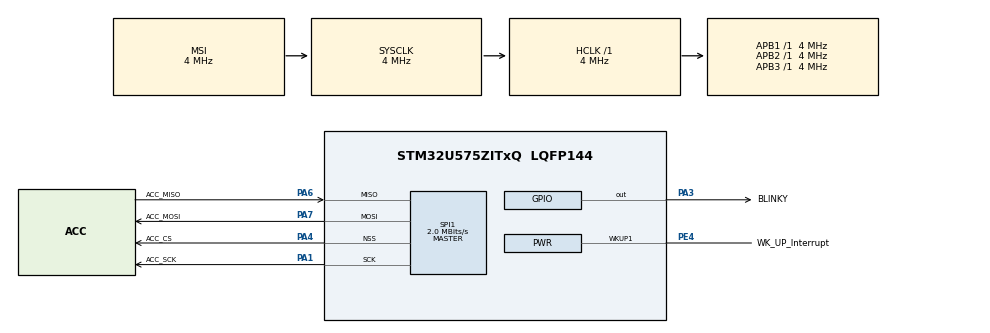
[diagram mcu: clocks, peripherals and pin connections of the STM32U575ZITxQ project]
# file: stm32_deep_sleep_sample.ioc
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CORTEX_M33_NS.userName=CORTEX_M33
Mcu.Family=STM32U5
Mcu.Name=STM32U575ZITxQ
Mcu.Package=LQFP144
NVIC.PWR_S3WU_IRQn=true\:0\:0\:false\:false\:true\:true\:true\:true
NVIC.PriorityGroup=NVIC_PRIORITYGROUP_4
PA1.GPIO_Label=ACC_SCK
PA1.Mode=Full_Duplex_Master
PA1.Signal=SPI1_SCK
PA3.GPIO_Label=BLINKY
PA3.Signal=GPIO_Output
PA4.GPIO_Label=ACC_CS
PA4.Mode=NSS_Signal_Hard_Output
PA4.Signal=SPI1_NSS
PA6.GPIO_Label=ACC_MISO
PA6.Mode=Full_Duplex_Master
PA6.Signal=SPI1_MISO
PA7.GPIO_Label=ACC_MOSI
PA7.Mode=Full_Duplex_Master
PA7.Signal=SPI1_MOSI
PE4.GPIO_Label=WK_UP_Interrupt
PE4.Mode=WakeUp1
PE4.Signal=PWR_WKUP1
PWR.PowerMode=PWR_SMPS_SUPPLY
ProjectManager.HeapSize=0x200
ProjectManager.StackSize=0x400
ProjectManager.TargetToolchain=STM32CubeIDE
RCC.ADCFreq_Value=16000000
RCC.AHBFreq_Value=4000000
RCC.APB1Freq_Value=4000000
RCC.APB1TimFreq_Value=4000000
RCC.APB2Freq_Value=4000000
RCC.APB2TimFreq_Value=4000000
RCC.APB3Freq_Value=4000000
RCC.CortexFreq_Value=4000000
RCC.EPOD_VALUE=4000000
RCC.HCLKFreq_Value=4000000
RCC.HSE_VALUE=16000000
RCC.HSI48_VALUE=48000000
RCC.HSI_VALUE=16000000
RCC.LSE_VALUE=32768
RCC.LSIDIV_VALUE=32000
RCC.MSI_VALUE=4000000
RCC.PWR_Regulator_Voltage_Scale=PWR_REGULATOR_VOLTAGE_SCALE4
RCC.SYSCLKFreq_VALUE=4000000
RCC.USBFreq_Value=48000000
RCC.VCOOutputFreq_Value=516000000
SPI1.CalculateBaudRate=2.0 MBits/s
SPI1.DataSize=SPI_DATASIZE_8BIT
SPI1.Direction=SPI_DIRECTION_2LINES
SPI1.FirstBit=SPI_FIRSTBIT_LSB
SPI1.Mode=SPI_MODE_MASTER
SPI1.VirtualNSS=VM_NSSHARD
SPI1.VirtualType=VM_MASTER
VP_LPBAMQUEUE_VS_QUEUE.Mode=QUEUEMODE
VP_LPBAM_VS_SIG1.Mode=SmartRun
VP_LPBAM_VS_SIG4.Mode=LPDMA1
VP_MEMORYMAP_VS_MEMORYMAP.Mode=CurAppReg
VP_PWR_VS_LPOM.Mode=PowerOptimisation
VP_PWR_VS_SECSignals.Mode=Security/Privilege
board=custom

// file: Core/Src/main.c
/* USER CODE BEGIN Header */
/**
  ******************************************************************************
  * @file           : main.c
  * @brief          : Main program body
  ******************************************************************************
  * @attention
  *
  * Copyright (c) 2025 STMicroelectronics.
  * All rights reserved.
  *
  * This software is licensed under terms that can be found in the LICENSE file
  * in the root directory of this software component.
  * If no LICENSE file comes with this software, it is provided AS-IS.
  *
  ******************************************************************************
  */
/* USER CODE END Header */
#include "main.h"
#include "spi.h"
#include "gpio.h"

/* USER CODE BEGIN Includes */
#include "config/config.h"
#include "services/lis2dw12_hal/lis2dw12_hal.h"

#if (APPLICATION_TO_RUN == DEEP_SLEEP_MAIN)
#include "apps/main_app/ds_main.h"
#elif (APPLICATION_TO_RUN == TEST_SENSOR)
#include "apps/test_lis2dw12/test_lis2dw12.h"
#elif (APPLICATION_TO_RUN == TEST_BLINK)
#include "apps/test_blink/test_blink.h"
#elif (APPLICATION_TO_RUN == TEST_SLEEP)
#include "apps/test_sleep/test_sleep.h"
#endif

/* USER CODE END Includes */

static void SystemPower_Config(void);

int main(void)
{

  /* MCU Configuration--------------------------------------------------------*/

  /* Reset of all peripherals, Initializes the Flash interface and the Systick. */
  HAL_Init();

  /* Configure the System Power */
  SystemPower_Config();

  /* Configure the system clock */
  SystemClock_Config();

  /* Initialize all configured peripherals */
  MX_GPIO_Init();
  MX_SPI1_Init();
  /* USER CODE BEGIN 2 */
  /* Enter application */
  #if (APPLICATION_TO_RUN == DEEP_SLEEP_MAIN)
  ds_main();
  #elif (APPLICATION_TO_RUN == TEST_SENSOR)
  test_lis2dw12();
  #elif (APPLICATION_TO_RUN == TEST_BLINK)
  test_blink();
  #elif (APPLICATION_TO_RUN == TEST_SLEEP)
  test_sleep();
  #endif

  /* USER CODE END 2 */

  /* Infinite loop */
  while (1)
  {

  }
}

void SystemClock_Config(void)
{
  RCC_OscInitTypeDef RCC_OscInitStruct = {0};
  RCC_ClkInitTypeDef RCC_ClkInitStruct = {0};

  /** Configure the main internal regulator output voltage
  */
  if (HAL_PWREx_ControlVoltageScaling(PWR_REGULATOR_VOLTAGE_SCALE4) != HAL_OK)
  {
    Error_Handler();
  }

  /** Initializes the CPU, AHB and APB buses clocks
  */
  RCC_OscInitStruct.OscillatorType = RCC_OSCILLATORTYPE_MSI;
  RCC_OscInitStruct.MSIState = RCC_MSI_ON;
  RCC_OscInitStruct.MSICalibrationValue = RCC_MSICALIBRATION_DEFAULT;
  RCC_OscInitStruct.MSIClockRange = RCC_MSIRANGE_4;
  RCC_OscInitStruct.PLL.PLLState = RCC_PLL_NONE;
  if (HAL_RCC_OscConfig(&RCC_OscInitStruct) != HAL_OK)
  {
    Error_Handler();
  }

  /** Initializes the CPU, AHB and APB buses clocks
  */
  RCC_ClkInitStruct.ClockType = RCC_CLOCKTYPE_HCLK|RCC_CLOCKTYPE_SYSCLK
                              |RCC_CLOCKTYPE_PCLK1|RCC_CLOCKTYPE_PCLK2
                              |RCC_CLOCKTYPE_PCLK3;
  RCC_ClkInitStruct.SYSCLKSource = RCC_SYSCLKSOURCE_MSI;
  RCC_ClkInitStruct.AHBCLKDivider = RCC_SYSCLK_DIV1;
  RCC_ClkInitStruct.APB1CLKDivider = RCC_HCLK_DIV1;
  RCC_ClkInitStruct.APB2CLKDivider = RCC_HCLK_DIV1;
  RCC_ClkInitStruct.APB3CLKDivider = RCC_HCLK_DIV1;

  if (HAL_RCC_ClockConfig(&RCC_ClkInitStruct, FLASH_LATENCY_0) != HAL_OK)
  {
    Error_Handler();
  }
}

/**
  * @brief Power Configuration
  * @retval None
  */
static void SystemPower_Config(void)
{

  /*
   * Switch to SMPS regulator instead of LDO
   */
  if (HAL_PWREx_ConfigSupply(PWR_SMPS_SUPPLY) != HAL_OK)
  {
    Error_Handler();
  }
  /* PWR_S3WU_IRQn interrupt configuration */
  HAL_NVIC_SetPriority(PWR_S3WU_IRQn, 0, 0);
  HAL_NVIC_EnableIRQ(PWR_S3WU_IRQn);
}

void Error_Handler(void)
{
  __disable_irq();
  while (1)
  {
  }
}
